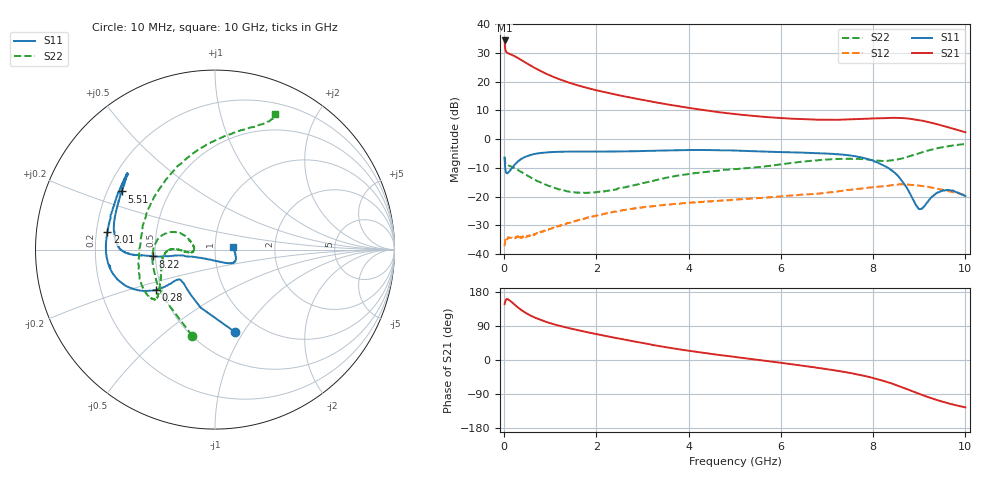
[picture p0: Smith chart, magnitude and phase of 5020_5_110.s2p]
# Hz S  dB  R 50
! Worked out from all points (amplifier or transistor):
!   1000 points, 10 MHz to 10 GHz, reference 50 ohm
!   highest |S21| = 34.3 dB at 10 MHz (marker M1)
!   |S21| within 3 dB of that: start of sweep to 25.68 MHz
!   unconditionally stable (mu >= 1): 49.99 MHz to end of sweep
!   at 1.67 GHz: K = 1.14, MAG = 20.9 dB, |S12| = -27.9 dB
!   at 5.01 GHz: K = 1.11, MAG = 12.8 dB, |S12| = -21.0 dB
!   at 10 GHz: K = 1.16, MAG = 8.5 dB, |S12| = -19.5 dB
!   S11 on the Smith chart (normalised r, x): 10 MHz: 0.78, -0.92; 280 MHz: 0.46, -0.25; 2.01 GHz: 0.25, +0.08; 5.51 GHz: 0.26, +0.27; 8.22 GHz: 0.48, -0.04; 10 GHz: 1.23, +0.03
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1e7  -6.52 -76.4  34.33 147.7  -37.24 33.4  -6.08 -104.8
7e7  -11.86 -138.2  30.03 160.6  -34.83 9.8  -9.05 -172.5
8e7  -11.76 -139.8  29.93 160.2  -34.32 9.0  -9.14 -175.0
1.1e8  -11.29 -141.7  29.72 158.1  -34.29 5.5  -9.27 179.3
2.1e8  -9.23 -143.4  29.00 147.8  -34.27 7.9  -9.99 167.9
2.8e8  -8.02 -145.6  28.41 140.5  -34.09 11.8  -10.59 163.3
3.9e8  -6.73 -150.0  27.36 130.3  -34.33 18.1  -11.61 158.2
5.2e8  -5.77 -155.3  26.10 120.7  -33.71 23.8  -12.88 155.3
6.4e8  -5.22 -159.7  24.95 113.3  -33.12 28.6  -13.97 155.0
7.8e8  -4.86 -163.9  23.78 106.2  -32.34 32.7  -15.04 155.9
9.5e8  -4.58 -168.3  22.47 99.1  -31.55 37.3  -16.18 158.5
1.15e9  -4.44 -172.8  21.13 91.9  -30.36 40.1  -17.28 163.4
1.68e9  -4.31 177.0  18.34 76.5  -27.97 42.4  -18.64 176.4
2.01e9  -4.33 170.8  16.96 68.2  -26.56 40.7  -18.46 -176.9
3.34e9  -4.02 146.5  12.65 37.3  -23.13 26.5  -14.10 -179.5
5.01e9  -3.98 142.1  8.72 7.9  -21.04 9.7  -10.42 -168.2
5.51e9  -4.26 148.1  7.92 0.2  -20.50 5.2  -9.74 -157.2
6.67e9  -4.80 168.2  6.82 -18.4  -19.12 -7.5  -7.54 -140.2
8.22e9  -9.14 -173.8  7.29 -55.0  -16.40 -38.3  -7.59 172.6
8.34e9  -10.17 -172.8  7.36 -59.4  -16.19 -41.4  -7.45 161.9
9.01e9  -24.38 -105.8  6.58 -89.9  -16.19 -69.8  -4.78 96.7
1e10  -19.81 7.5  2.40 -125.0  -19.48 -102.5  -1.67 66.0
